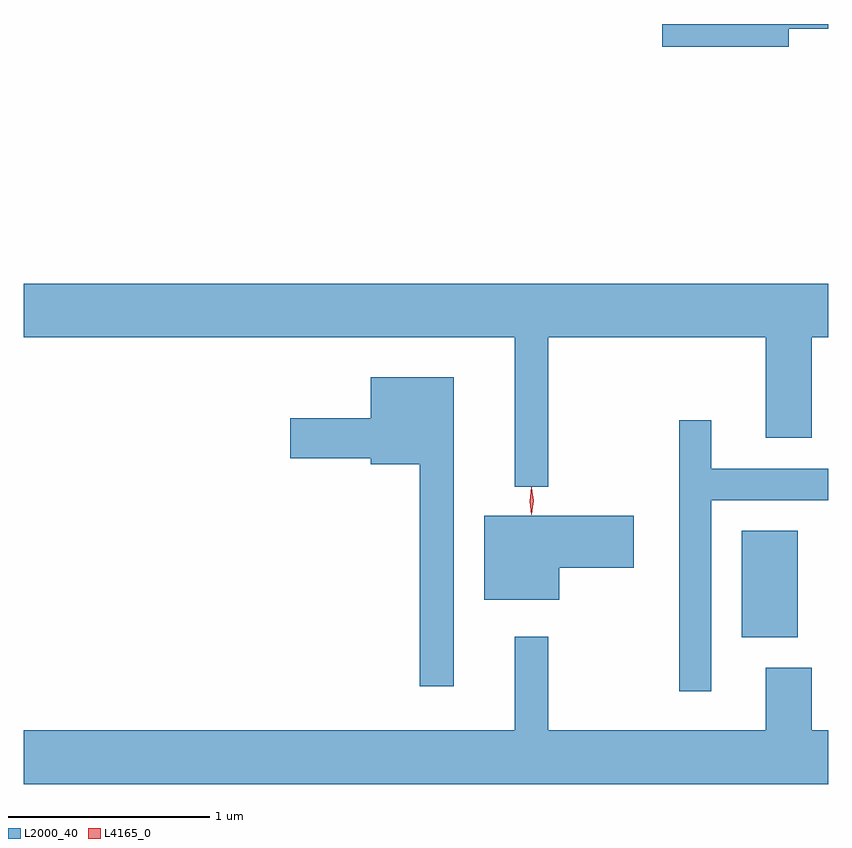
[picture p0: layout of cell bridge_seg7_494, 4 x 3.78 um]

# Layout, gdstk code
import gdstk
lib = gdstk.Library(unit=1e-6, precision=1e-09)
def R(c, l, rs):  # rectangles x0, y0, x1, y1
    for r in rs: c.add(gdstk.rectangle(r[:2], r[2:], *l))
def P(c, l, *ps):  # polygons
    for p in ps: c.add(gdstk.Polygon(p, *l))
L2000_40 = (2000, 40)
L4165_0 = (4165, 0)

bridge_seg7_494 = lib.new_cell('bridge_seg7_494')
R(bridge_seg7_494, L2000_40, [(1313.451,1681.746,1313.729,1682.274)])
P(bridge_seg7_494, L2000_40, [(1313.684,1684.771),(1313.881,1684.771),(1313.881,1684.794),(1313.056,1684.794),(1313.056,1684.681),(1313.684,1684.681)],
  [(1312.489,1683.236),(1313.571,1683.236),(1313.571,1682.736),(1313.799,1682.736),(1313.799,1683.236),(1313.881,1683.236),(1313.881,1683.504),(1309.881,1683.504),(1309.881,1683.236),(1312.321,1683.236),(1312.321,1682.493),(1312.489,1682.493)],
  [(1312.019,1683.039),(1311.606,1683.039),(1311.606,1682.834),(1311.206,1682.834),(1311.206,1682.636),(1311.606,1682.636),(1311.606,1682.606),(1311.851,1682.606),(1311.851,1681.503),(1312.019,1681.503)],
  [(1313.299,1682.426),(1313.881,1682.426),(1313.881,1682.584),(1313.299,1682.584),(1313.299,1682.823),(1313.141,1682.823),(1313.141,1681.478),(1313.299,1681.478)],
  [(1312.544,1682.091),(1312.914,1682.091),(1312.914,1682.349),(1312.171,1682.349),(1312.171,1681.931),(1312.544,1681.931)],
  [(1313.881,1681.284),(1313.799,1681.284),(1313.799,1681.594),(1313.571,1681.594),(1313.571,1681.284),(1312.489,1681.284),(1312.489,1681.748),(1312.321,1681.748),(1312.321,1681.284),(1309.881,1681.284),(1309.881,1681.016),(1313.881,1681.016)])
P(bridge_seg7_494, L4165_0, [(1312.405,1682.354),(1312.396,1682.422),(1312.404,1682.49),(1312.405,1682.49),(1312.406,1682.49),(1312.415,1682.422),(1312.406,1682.354),(1312.406,1682.354)],
  [(1312.406,1682.36),(1312.397,1682.424),(1312.406,1682.486),(1312.407,1682.487),(1312.407,1682.486),(1312.417,1682.424),(1312.407,1682.36),(1312.407,1682.36)])

lib.write_gds('bridge_seg7_494.gds')
